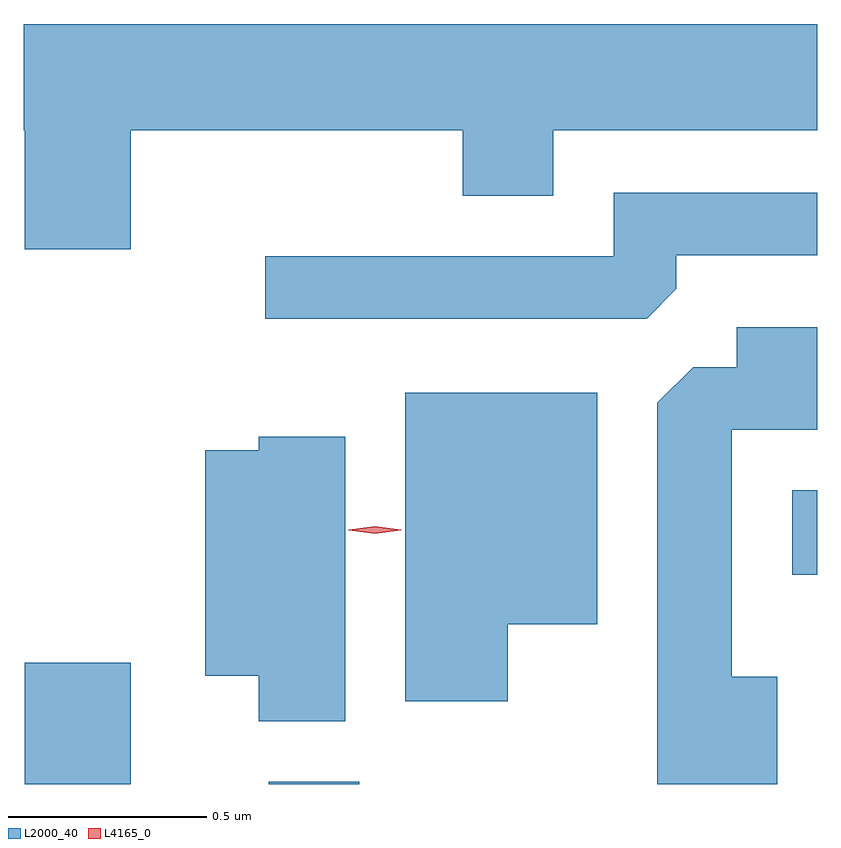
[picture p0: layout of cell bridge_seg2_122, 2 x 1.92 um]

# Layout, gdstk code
import gdstk
lib = gdstk.Library(unit=1e-6, precision=1e-09)
def R(c, l, rs):  # rectangles x0, y0, x1, y1
    for r in rs: c.add(gdstk.rectangle(r[:2], r[2:], *l))
def P(c, l, *ps):  # polygons
    for p in ps: c.add(gdstk.Polygon(p, *l))
L2000_40 = (2000, 40)
L4165_0 = (4165, 0)

bridge_seg2_122 = lib.new_cell('bridge_seg2_122')
R(bridge_seg2_122, L2000_40, [(914.376,1106.608,914.644,1106.914), (914.991,1106.608,915.219,1106.614), (916.311,1107.136,916.374,1107.349)])
P(bridge_seg2_122, L2000_40, [(914.644,1108.256),(915.481,1108.256),(915.481,1108.091),(915.709,1108.091),(915.709,1108.256),(916.374,1108.256),(916.374,1108.524),(914.374,1108.524),(914.374,1108.256),(914.376,1108.256),(914.376,1107.956),(914.644,1107.956)],
  [(916.019,1107.857),(916.019,1107.941),(916.374,1107.941),(916.374,1108.099),(915.861,1108.099),(915.861,1107.939),(914.983,1107.939),(914.983,1107.781),(915.944,1107.781)],
  [(916.274,1106.879),(916.159,1106.879),(916.159,1107.501),(916.374,1107.501),(916.374,1107.759),(916.171,1107.759),(916.171,1107.659),(916.062,1107.659),(915.971,1107.569),(915.971,1106.608),(916.274,1106.608)],
  [(915.594,1107.011),(915.819,1107.011),(915.819,1107.594),(915.336,1107.594),(915.336,1106.816),(915.594,1106.816)],
  [(915.184,1107.484),(914.966,1107.484),(914.966,1107.449),(914.831,1107.449),(914.831,1106.881),(914.966,1106.881),(914.966,1106.766),(915.184,1106.766)])
P(bridge_seg2_122, L4165_0, [(915.259,1107.239),(915.193,1107.248),(915.192,1107.248),(915.193,1107.249),(915.259,1107.258),(915.325,1107.249),(915.326,1107.249),(915.325,1107.248)])

lib.write_gds('bridge_seg2_122.gds')
